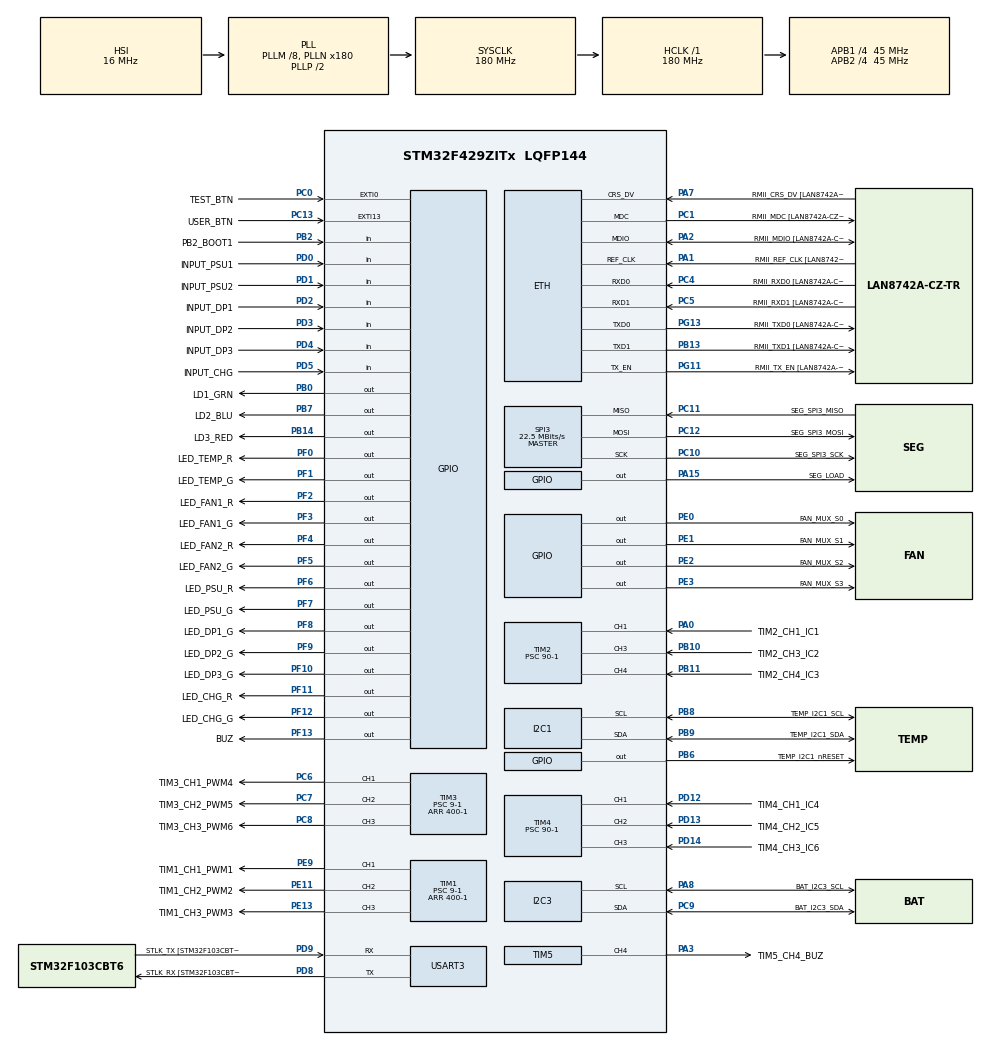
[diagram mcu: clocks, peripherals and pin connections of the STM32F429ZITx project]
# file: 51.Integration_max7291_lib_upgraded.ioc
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ETH.MediaInterface=HAL_ETH_RMII_MODE
LWIP.BSP.number=1
LWIP.GATEWAY_ADDRESS=192.168.050.001
LWIP.IP_ADDRESS=192.168.050.100
LWIP.LWIP_DHCP=0
LWIP.NETMASK_ADDRESS=255.255.255.000
LWIP.Version=v2.1.2_Cube
LWIP0.BSP.STBoard=false
LWIP0.BSP.api=BSP_COMPONENT_DRIVER
LWIP0.BSP.component=LAN8742
LWIP0.BSP.instance=LAN8742
LWIP0.BSP.name=Driver_PHY
LWIP0.BSP.semaphore=S_LAN8742
LWIP0.BSP.solution=LAN8742
Mcu.Family=STM32F4
Mcu.Name=STM32F429ZITx
Mcu.Package=LQFP144
NVIC.ETH_IRQn=true\:0\:0\:false\:false\:true\:true\:true\:true
NVIC.EXTI0_IRQn=true\:3\:0\:true\:false\:true\:true\:true\:true
NVIC.EXTI15_10_IRQn=true\:0\:0\:false\:false\:true\:true\:true\:true
NVIC.PriorityGroup=NVIC_PRIORITYGROUP_4
NVIC.TIM2_IRQn=true\:0\:0\:true\:false\:true\:true\:true\:true
NVIC.TIM4_IRQn=true\:0\:0\:true\:false\:true\:true\:true\:true
NVIC.TIM6_DAC_IRQn=true\:1\:0\:true\:false\:true\:true\:true\:true
NVIC.USART3_IRQn=true\:0\:0\:false\:false\:true\:true\:true\:true
PA0/WKUP.GPIO_Label=TIM2_CH1_IC1
PA0/WKUP.Signal=S_TIM2_CH1_ETR
PA1.GPIO_Label=RMII_REF_CLK [LAN8742A-CZ-TR_REFCLK0]
PA1.Mode=RMII
PA1.Signal=ETH_REF_CLK
PA13.Mode=Serial_Wire
PA13.Signal=SYS_JTMS-SWDIO
PA14.GPIO_Label=TCK
PA14.Mode=Serial_Wire
PA14.Signal=SYS_JTCK-SWCLK
PA15.GPIO_Label=SEG_LOAD
PA15.Signal=GPIO_Output
PA2.GPIO_Label=RMII_MDIO [LAN8742A-CZ-TR_MDIO]
PA2.Mode=RMII
PA2.Signal=ETH_MDIO
PA3.GPIO_Label=TIM5_CH4_BUZ
PA3.Signal=S_TIM5_CH4
PA7.GPIO_Label=RMII_CRS_DV [LAN8742A-CZ-TR_CRS_DV]
PA7.Mode=RMII
PA7.Signal=ETH_CRS_DV
PA8.GPIO_Label=BAT_I2C3_SCL
PA8.Mode=I2C
PA8.Signal=I2C3_SCL
PB0.GPIO_Label=LD1_GRN
PB0.Signal=GPIO_Output
PB10.GPIO_Label=TIM2_CH3_IC2
PB10.Signal=S_TIM2_CH3
PB11.GPIO_Label=TIM2_CH4_IC3
PB11.Signal=S_TIM2_CH4
PB13.GPIO_Label=RMII_TXD1 [LAN8742A-CZ-TR_TXD1]
PB13.Mode=RMII
PB13.Signal=ETH_TXD1
PB14.GPIO_Label=LD3_RED
PB14.Signal=GPIO_Output
PB2/BOOT1.GPIO_Label=PB2_BOOT1
PB2/BOOT1.Signal=GPIO_Input
PB4.GPIO_Label=SEG_SPI1_MISO
PB4.Signal=SPI1_MISO
PB6.GPIO_Label=TEMP_I2C1_nRESET
PB6.Signal=GPIO_Output
PB7.GPIO_Label=LD2_BLU
PB7.Signal=GPIO_Output
PB8.GPIO_Label=TEMP_I2C1_SCL
PB8.Mode=I2C
PB8.Signal=I2C1_SCL
PB9.GPIO_Label=TEMP_I2C1_SDA
PB9.Mode=I2C
PB9.Signal=I2C1_SDA
PC0.GPIO_Label=TEST_BTN
PC0.GPIO_ModeDefaultEXTI=GPIO_MODE_IT_FALLING
PC0.GPIO_PuPd=GPIO_NOPULL
PC0.Signal=GPXTI0
PC1.GPIO_Label=RMII_MDC [LAN8742A-CZ-TR_MDC]
PC1.Mode=RMII
PC1.Signal=ETH_MDC
PC10.GPIO_Label=SEG_SPI3_SCK
PC10.Mode=Full_Duplex_Master
PC10.Signal=SPI3_SCK
PC11.GPIO_Label=SEG_SPI3_MISO
PC11.Mode=Full_Duplex_Master
PC11.Signal=SPI3_MISO
PC12.GPIO_Label=SEG_SPI3_MOSI
PC12.Mode=Full_Duplex_Master
PC12.Signal=SPI3_MOSI
PC13.GPIO_Label=USER_BTN
PC13.GPIO_ModeDefaultEXTI=GPIO_MODE_IT_FALLING
PC13.GPIO_PuPd=GPIO_NOPULL
PC13.Signal=GPXTI13
PC14/OSC32_IN.Mode=LSE-External-Oscillator
PC14/OSC32_IN.Signal=RCC_OSC32_IN
PC15/OSC32_OUT.Mode=LSE-External-Oscillator
PC15/OSC32_OUT.Signal=RCC_OSC32_OUT
PC4.GPIO_Label=RMII_RXD0 [LAN8742A-CZ-TR_RXD0]
PC4.Mode=RMII
PC4.Signal=ETH_RXD0
PC5.GPIO_Label=RMII_RXD1 [LAN8742A-CZ-TR_RXD1]
PC5.Mode=RMII
PC5.Signal=ETH_RXD1
PC6.GPIO_Label=TIM3_CH1_PWM4
PC6.Signal=S_TIM3_CH1
PC7.GPIO_Label=TIM3_CH2_PWM5
PC7.Signal=S_TIM3_CH2
PC8.GPIO_Label=TIM3_CH3_PWM6
PC8.Signal=S_TIM3_CH3
PC9.GPIO_Label=BAT_I2C3_SDA
PC9.Mode=I2C
PC9.Signal=I2C3_SDA
PD0.GPIO_Label=INPUT_PSU1
PD0.GPIO_PuPd=GPIO_PULLUP
PD0.Signal=GPIO_Input
PD1.GPIO_Label=INPUT_PSU2
PD1.GPIO_PuPd=GPIO_PULLUP
PD1.Signal=GPIO_Input
PD12.GPIO_Label=TIM4_CH1_IC4
PD12.Signal=S_TIM4_CH1
PD13.GPIO_Label=TIM4_CH2_IC5
PD13.Signal=S_TIM4_CH2
PD14.GPIO_Label=TIM4_CH3_IC6
PD14.Signal=S_TIM4_CH3
PD2.GPIO_Label=INPUT_DP1
PD2.GPIO_PuPd=GPIO_PULLUP
PD2.Signal=GPIO_Input
PD3.GPIO_Label=INPUT_DP2
PD3.GPIO_PuPd=GPIO_PULLUP
PD3.Signal=GPIO_Input
PD4.GPIO_Label=INPUT_DP3
PD4.GPIO_PuPd=GPIO_PULLUP
PD4.Signal=GPIO_Input
PD5.GPIO_Label=INPUT_CHG
PD5.GPIO_PuPd=GPIO_PULLUP
PD5.Signal=GPIO_Input
PD8.GPIO_Label=STLK_RX [STM32F103CBT6_PA3]
PD8.Mode=Asynchronous
PD8.Signal=USART3_TX
PD9.GPIO_Label=STLK_TX [STM32F103CBT6_PA2]
PD9.Mode=Asynchronous
PD9.Signal=USART3_RX
PE0.GPIO_Label=FAN_MUX_S0
PE0.Signal=GPIO_Output
PE1.GPIO_Label=FAN_MUX_S1
PE1.Signal=GPIO_Output
PE11.GPIO_Label=TIM1_CH2_PWM2
PE11.Signal=S_TIM1_CH2
PE13.GPIO_Label=TIM1_CH3_PWM3
PE13.Signal=S_TIM1_CH3
PE2.GPIO_Label=FAN_MUX_S2
PE2.Signal=GPIO_Output
PE3.GPIO_Label=FAN_MUX_S3
PE3.Signal=GPIO_Output
PE9.GPIO_Label=TIM1_CH1_PWM1
PE9.Signal=S_TIM1_CH1
PF0.GPIO_Label=LED_TEMP_R
PF0.PinState=GPIO_PIN_SET
PF0.Signal=GPIO_Output
PF1.GPIO_Label=LED_TEMP_G
PF1.PinState=GPIO_PIN_SET
PF1.Signal=GPIO_Output
PF10.GPIO_Label=LED_DP3_G
PF10.PinState=GPIO_PIN_SET
PF10.Signal=GPIO_Output
PF11.GPIO_Label=LED_CHG_R
PF11.PinState=GPIO_PIN_SET
PF11.Signal=GPIO_Output
PF12.GPIO_Label=LED_CHG_G
PF12.PinState=GPIO_PIN_SET
PF12.Signal=GPIO_Output
PF13.GPIO_Label=BUZ
PF13.PinState=GPIO_PIN_SET
PF13.Signal=GPIO_Output
PF2.GPIO_Label=LED_FAN1_R
PF2.PinState=GPIO_PIN_SET
PF2.Signal=GPIO_Output
PF3.GPIO_Label=LED_FAN1_G
PF3.PinState=GPIO_PIN_SET
PF3.Signal=GPIO_Output
PF4.GPIO_Label=LED_FAN2_R
PF4.PinState=GPIO_PIN_SET
PF4.Signal=GPIO_Output
PF5.GPIO_Label=LED_FAN2_G
PF5.PinState=GPIO_PIN_SET
PF5.Signal=GPIO_Output
PF6.GPIO_Label=LED_PSU_R
PF6.PinState=GPIO_PIN_SET
PF6.Signal=GPIO_Output
PF7.GPIO_Label=LED_PSU_G
PF7.PinState=GPIO_PIN_SET
PF7.Signal=GPIO_Output
PF8.GPIO_Label=LED_DP1_G
PF8.PinState=GPIO_PIN_SET
PF8.Signal=GPIO_Output
PF9.GPIO_Label=LED_DP2_G
PF9.PinState=GPIO_PIN_SET
PF9.Signal=GPIO_Output
PG11.GPIO_Label=RMII_TX_EN [LAN8742A-CZ-TR_TXEN]
PG11.Mode=RMII
PG11.Signal=ETH_TX_EN
PG13.GPIO_Label=RMII_TXD0 [LAN8742A-CZ-TR_TXD0]
PG13.Mode=RMII
PG13.Signal=ETH_TXD0
PH0/OSC_IN.Mode=HSE-External-Oscillator
PH0/OSC_IN.Signal=RCC_OSC_IN
PH1/OSC_OUT.Mode=HSE-External-Oscillator
PH1/OSC_OUT.Signal=RCC_OSC_OUT
ProjectManager.HeapSize=0x200
ProjectManager.StackSize=0x400
ProjectManager.TargetToolchain=STM32CubeIDE
RCC.48MHZClocksFreq_Value=51428571.428571425
RCC.AHBFreq_Value=180000000
RCC.APB1CLKDivider=RCC_HCLK_DIV4
RCC.APB1Freq_Value=45000000
RCC.APB1TimFreq_Value=90000000
RCC.APB2CLKDivider=RCC_HCLK_DIV4
RCC.APB2Freq_Value=45000000
RCC.APB2TimFreq_Value=90000000
RCC.CortexFreq_Value=180000000
RCC.HCLKFreq_Value=180000000
RCC.HSE_VALUE=8000000
RCC.HSI_VALUE=16000000
RCC.PLLM=8
RCC.PLLMUL=RCC_PLL_MUL9
RCC.PLLN=180
RCC.PLLQ=7
RCC.PRESCALERUSB=RCC_USBCLKSOURCE_PLL_DIV1_5
RCC.SYSCLKFreq_VALUE=180000000
RCC.SYSCLKSource=RCC_SYSCLKSOURCE_PLLCLK
RCC.SYSCLKSourceVirtual=RCC_SYSCLKSOURCE_PLLCLK
RCC.USBFreq_Value=48000000
RCC.VCOOutputFreq_Value=360000000
SH.S_TIM1_CH1.0=TIM1_CH1,PWM Generation1 CH1
SH.S_TIM1_CH2.0=TIM1_CH2,PWM Generation2 CH2
SH.S_TIM1_CH3.0=TIM1_CH3,PWM Generation3 CH3
SH.S_TIM2_CH1_ETR.0=TIM2_CH1,Input_Capture1_from_TI1
SH.S_TIM2_CH3.0=TIM2_CH3,Input_Capture3_from_TI3
SH.S_TIM2_CH4.0=TIM2_CH4,Input_Capture4_from_TI4
SH.S_TIM3_CH1.0=TIM3_CH1,PWM Generation1 CH1
SH.S_TIM3_CH2.0=TIM3_CH2,PWM Generation2 CH2
SH.S_TIM3_CH3.0=TIM3_CH3,PWM Generation3 CH3
SH.S_TIM4_CH1.0=TIM4_CH1,Input_Capture1_from_TI1
SH.S_TIM4_CH2.0=TIM4_CH2,Input_Capture2_from_TI2
SH.S_TIM4_CH3.0=TIM4_CH3,Input_Capture3_from_TI3
SH.S_TIM5_CH4.0=TIM5_CH4,PWM Generation4 CH4
SPI3.BaudRatePrescaler=SPI_BAUDRATEPRESCALER_2
SPI3.CalculateBaudRate=22.5 MBits/s
SPI3.Direction=SPI_DIRECTION_2LINES
SPI3.Mode=SPI_MODE_MASTER
SPI3.VirtualType=VM_MASTER
TIM1.Channel-PWM\ Generation1\ CH1=TIM_CHANNEL_1
TIM1.Channel-PWM\ Generation2\ CH2=TIM_CHANNEL_2
TIM1.Channel-PWM\ Generation3\ CH3=TIM_CHANNEL_3
TIM1.Period=400-1
TIM1.Prescaler=9-1
TIM2.Channel-Input_Capture1_from_TI1=TIM_CHANNEL_1
TIM2.Channel-Input_Capture3_from_TI3=TIM_CHANNEL_3
TIM2.Channel-Input_Capture4_from_TI4=TIM_CHANNEL_4
TIM2.ICFilter_CH1=15
TIM2.ICFilter_CH3=15
TIM2.Prescaler=90-1
TIM3.Channel-PWM\ Generation1\ CH1=TIM_CHANNEL_1
TIM3.Channel-PWM\ Generation2\ CH2=TIM_CHANNEL_2
TIM3.Channel-PWM\ Generation3\ CH3=TIM_CHANNEL_3
TIM3.Period=400-1
TIM3.Prescaler=9-1
TIM4.Channel-Input_Capture1_from_TI1=TIM_CHANNEL_1
TIM4.Channel-Input_Capture2_from_TI2=TIM_CHANNEL_2
TIM4.Channel-Input_Capture3_from_TI3=TIM_CHANNEL_3
TIM4.Prescaler=90-1
TIM5.Channel-PWM\ Generation4\ CH4=TIM_CHANNEL_4
TIM5.Period=370
TIM5.Prescaler=90-1
TIM5.Pulse-PWM\ Generation4\ CH4=185
TIM6.Period=10000-1
TIM6.Prescaler=900-1
USART3.VirtualMode=VM_ASYNC
VP_LWIP_VS_Enabled.Mode=Enabled
VP_TIM6_VS_ClockSourceINT.Mode=Enable_Timer
board=NUCLEO-F429ZI

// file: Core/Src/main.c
/* USER CODE BEGIN Header */
/**
  ******************************************************************************
  * @file           : main.c
  * @brief          : Main program body
  ******************************************************************************
  * @attention
  *
  * Copyright (c) 2024 STMicroelectronics.
  * All rights reserved.
  *
  * This software is licensed under terms that can be found in the LICENSE file
  * in the root directory of this software component.
  * If no LICENSE file comes with this software, it is provided AS-IS.
  *
  ******************************************************************************
  */
/* USER CODE END Header */
#include "main.h"
#include "i2c.h"
#include "lwip.h"
#include "spi.h"
#include "tim.h"
#include "usart.h"
#include "gpio.h"

/* USER CODE BEGIN Includes */
#include <stdlib.h>
#include <udp_server.h>
#include "ring_buffer.h"
#include "pid.h"
#include "ema.h"
#include "user_timer.h"
#include "fan_control.h"
#include "debug_uart.h"
#include "hih8131.h"
#include "bq34z100.h"
#include "process.h"
#include "max7219.h"
#include "display.h"
#include "udp_protocol.h"
#include "send.h"
#include "debug_uart.h"
#include "buzzer.h"

/* USER CODE END Includes */

/* USER CODE BEGIN PV */
uint8_t timer_interrupt_100ms_done = 0;
uint8_t timer_interrupt_1sec_done = 0;
uint8_t key_pressed = 0;
uint8_t keyno = 0;

//----------------------
//RingBuffer rxBuffer;

/* USER CODE END PV */

void SystemClock_Config(void);
/* USER CODE BEGIN PFP */
int _write(int file, char* p, int len)
{
	HAL_UART_Transmit(&huart3, (const uint8_t *)p, len, 10);
	return len;
}

/* USER CODE END PFP */

/* USER CODE BEGIN 0 */
uint32_t stamp_100ms = 0;
uint32_t stamp_1sec = 0;
int8_t cmd_received = 1;
//uint8_t command[50] = {0, };

//UDP Server
extern struct netif gnetif;
extern ip4_addr_t ipaddr;

/* USER CODE END 0 */

int main(void)
{

  /* MCU Configuration--------------------------------------------------------*/

  /* Reset of all peripherals, Initializes the Flash interface and the Systick. */
  HAL_Init();

  /* Configure the system clock */
  SystemClock_Config();

  /* Initialize all configured peripherals */
  MX_GPIO_Init();
  MX_USART3_UART_Init();
  MX_I2C1_Init();
  MX_TIM1_Init();
  MX_TIM2_Init();
  MX_TIM3_Init();
  MX_TIM4_Init();
  MX_LWIP_Init();
  MX_TIM6_Init();
  MX_I2C3_Init();
  MX_SPI3_Init();
  MX_TIM5_Init();
  /* USER CODE BEGIN 2 */
  uTimer_Init();
  LED_Init();
  MAX7219_Init();
  Buzzer_Init();

  DBG_Uart_Init();
  HAL_UART_Receive_IT(&huart3, (uint8_t *)&rxBuffer.buffer[rxBuffer.head], 1);

  FAN_Init();
  HMTP_Init();
  UDP_Protocol_Init();

  configure_mac_filter();
  udpServer_init();
  Process_Init();

  HAL_TIM_Base_Start_IT(&htim6);

 printf("\n51.Integration_max7291_lib_upgraded\n");

 //Send_Portable_Status()
 setbuf(stdout,NULL);
  /* USER CODE END 2 */

  /* Infinite loop */
  /* USER CODE BEGIN WHILE */

 uint8_t toggle = 0;
  while (1)
  {
    ethernetif_input(&gnetif);
    sys_check_timeouts();

    Process_Portable_Status();

    if(key_pressed == 1)
    {
      toggle = !toggle;

      if(uTimer_CheckTimeOut((uint8_t)uTimerDebounce) == TRUE)
      {
        //if(toggle==1) Buzzer_On();
        //else Buzzer_Off();

        //Send_Portable_Status();
        key_pressed = 0;
      }
    }

    /* USER CODE END WHILE */

  }
}

void SystemClock_Config(void)
{
  RCC_OscInitTypeDef RCC_OscInitStruct = {0};
  RCC_ClkInitTypeDef RCC_ClkInitStruct = {0};

  /** Configure the main internal regulator output voltage
  */
  __HAL_RCC_PWR_CLK_ENABLE();
  __HAL_PWR_VOLTAGESCALING_CONFIG(PWR_REGULATOR_VOLTAGE_SCALE1);

  /** Initializes the RCC Oscillators according to the specified parameters
  * in the RCC_OscInitTypeDef structure.
  */
  RCC_OscInitStruct.OscillatorType = RCC_OSCILLATORTYPE_HSI;
  RCC_OscInitStruct.HSIState = RCC_HSI_ON;
  RCC_OscInitStruct.HSICalibrationValue = RCC_HSICALIBRATION_DEFAULT;
  RCC_OscInitStruct.PLL.PLLState = RCC_PLL_ON;
  RCC_OscInitStruct.PLL.PLLSource = RCC_PLLSOURCE_HSI;
  RCC_OscInitStruct.PLL.PLLM = 8;
  RCC_OscInitStruct.PLL.PLLN = 180;
  RCC_OscInitStruct.PLL.PLLP = RCC_PLLP_DIV2;
  RCC_OscInitStruct.PLL.PLLQ = 7;
  if (HAL_RCC_OscConfig(&RCC_OscInitStruct) != HAL_OK)
  {
    Error_Handler();
  }

  /** Activate the Over-Drive mode
  */
  if (HAL_PWREx_EnableOverDrive() != HAL_OK)
  {
    Error_Handler();
  }

  /** Initializes the CPU, AHB and APB buses clocks
  */
  RCC_ClkInitStruct.ClockType = RCC_CLOCKTYPE_HCLK|RCC_CLOCKTYPE_SYSCLK
                              |RCC_CLOCKTYPE_PCLK1|RCC_CLOCKTYPE_PCLK2;
  RCC_ClkInitStruct.SYSCLKSource = RCC_SYSCLKSOURCE_PLLCLK;
  RCC_ClkInitStruct.AHBCLKDivider = RCC_SYSCLK_DIV1;
  RCC_ClkInitStruct.APB1CLKDivider = RCC_HCLK_DIV4;
  RCC_ClkInitStruct.APB2CLKDivider = RCC_HCLK_DIV4;

  if (HAL_RCC_ClockConfig(&RCC_ClkInitStruct, FLASH_LATENCY_5) != HAL_OK)
  {
    Error_Handler();
  }
}

/* USER CODE BEGIN 4 */
uint16_t timer10ms_count = 0;
void HAL_TIM_PeriodElapsedCallback(TIM_HandleTypeDef *htim)
{

  if(htim->Instance == TIM6)
  {
    //if(timer_interrupt_100ms_done == 0) {
    	timer10ms_count++;
    //	timer_interrupt_100ms_done = 1;
    //}
    if(timer10ms_count >= 10)
    {
      //if(timer_interrupt_1sec_done == 0)
      {
       //HAL_GPIO_TogglePin(LD1_GRN_GPIO_Port, LD1_GRN_Pin);
       //-------------------------------------------
        timer10ms_count = 0;
       // timer_interrupt_1sec_done = 1;
      }
    }
  }
}

void HAL_GPIO_EXTI_Callback(uint16_t GPIO_Pin)
{
    if(GPIO_Pin == USER_BTN_Pin)
  {
    HAL_NVIC_DisableIRQ(EXTI15_10_IRQn);
    //---------------------------------------------------------
    if(key_pressed == 0)
    {
      printf("key_pressed !\n");
      key_pressed = 1;
    }

    //---------------------------------------------------------
    HAL_NVIC_EnableIRQ(EXTI15_10_IRQn);

  }//USER_BTN_Pin

  if(GPIO_Pin == TEST_BTN_Pin)
  {
    HAL_NVIC_DisableIRQ(EXTI0_IRQn);
    //---------------------------------------------------------
    if(key_pressed == 0)
    {
      uTimer_Regist(((uint8_t)uTimerDebounce), KEY_TIMERCNT);
      keyno = fan_step;

      if(keyno <5 ) {
        keyno++;
      }
      if (keyno > 4) {
        keyno = 0;
      }
      fan_step = keyno;

      key_pressed = 1;

      printf("STEP : %d \n", keyno);
    }
    //---------------------------------------------------------
    HAL_NVIC_EnableIRQ(EXTI0_IRQn);

  }//TEST_BTN_Pin
}

/* USER CODE END 4 */

void Error_Handler(void)
{
  __disable_irq();
  while (1)
  {
  }
}
